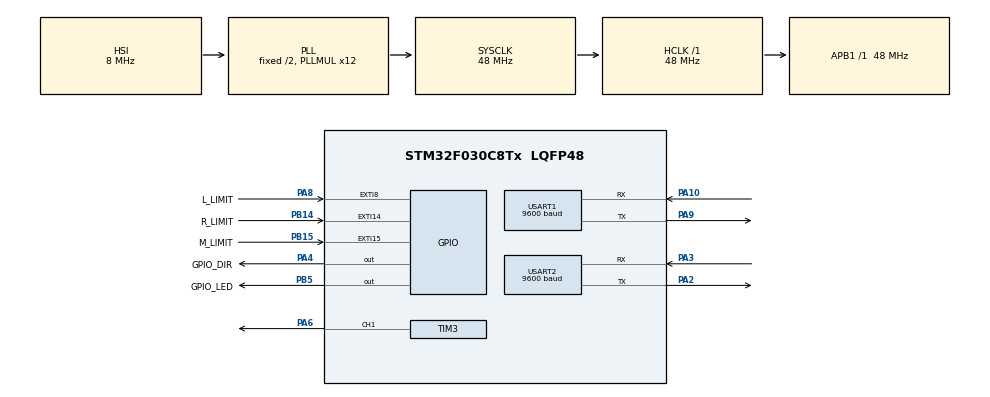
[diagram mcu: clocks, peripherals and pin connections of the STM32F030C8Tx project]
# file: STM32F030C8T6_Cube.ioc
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Dma.Request0=USART2_RX
Dma.Request1=USART2_TX
Dma.Request2=USART1_RX
Dma.Request3=USART1_TX
Dma.USART1_RX.2.Direction=DMA_PERIPH_TO_MEMORY
Dma.USART1_RX.2.Instance=DMA1_Channel3
Dma.USART1_RX.2.MemDataAlignment=DMA_MDATAALIGN_BYTE
Dma.USART1_RX.2.MemInc=DMA_MINC_ENABLE
Dma.USART1_RX.2.Mode=DMA_NORMAL
Dma.USART1_RX.2.PeriphDataAlignment=DMA_PDATAALIGN_BYTE
Dma.USART1_RX.2.PeriphInc=DMA_PINC_DISABLE
Dma.USART1_RX.2.Priority=DMA_PRIORITY_LOW
Dma.USART1_TX.3.Direction=DMA_MEMORY_TO_PERIPH
Dma.USART1_TX.3.Instance=DMA1_Channel2
Dma.USART1_TX.3.MemDataAlignment=DMA_MDATAALIGN_BYTE
Dma.USART1_TX.3.MemInc=DMA_MINC_ENABLE
Dma.USART1_TX.3.Mode=DMA_NORMAL
Dma.USART1_TX.3.PeriphDataAlignment=DMA_PDATAALIGN_BYTE
Dma.USART1_TX.3.PeriphInc=DMA_PINC_DISABLE
Dma.USART1_TX.3.Priority=DMA_PRIORITY_LOW
Dma.USART2_RX.0.Direction=DMA_PERIPH_TO_MEMORY
Dma.USART2_RX.0.Instance=DMA1_Channel5
Dma.USART2_RX.0.MemDataAlignment=DMA_MDATAALIGN_BYTE
Dma.USART2_RX.0.MemInc=DMA_MINC_ENABLE
Dma.USART2_RX.0.Mode=DMA_NORMAL
Dma.USART2_RX.0.PeriphDataAlignment=DMA_PDATAALIGN_BYTE
Dma.USART2_RX.0.PeriphInc=DMA_PINC_DISABLE
Dma.USART2_RX.0.Priority=DMA_PRIORITY_LOW
Dma.USART2_TX.1.Direction=DMA_MEMORY_TO_PERIPH
Dma.USART2_TX.1.Instance=DMA1_Channel4
Dma.USART2_TX.1.MemDataAlignment=DMA_MDATAALIGN_BYTE
Dma.USART2_TX.1.MemInc=DMA_MINC_ENABLE
Dma.USART2_TX.1.Mode=DMA_NORMAL
Dma.USART2_TX.1.PeriphDataAlignment=DMA_PDATAALIGN_BYTE
Dma.USART2_TX.1.PeriphInc=DMA_PINC_DISABLE
Dma.USART2_TX.1.Priority=DMA_PRIORITY_LOW
Mcu.Family=STM32F0
Mcu.Name=STM32F030C8Tx
Mcu.Package=LQFP48
NVIC.DMA1_Channel2_3_IRQn=true\:0\:0\:false\:false\:true
NVIC.DMA1_Channel4_5_IRQn=true\:0\:0\:false\:false\:true
NVIC.EXTI4_15_IRQn=true\:1\:0\:true\:false\:true
NVIC.TIM3_IRQn=true\:0\:0\:false\:false\:true
NVIC.USART1_IRQn=true\:0\:0\:false\:false\:true
PA10.Mode=Asynchronous
PA10.Signal=USART1_RX
PA2.Mode=Asynchronous
PA2.Signal=USART2_TX
PA3.Mode=Asynchronous
PA3.Signal=USART2_RX
PA4.GPIO_Label=GPIO_DIR
PA4.GPIO_ModeDefaultOutputPP=GPIO_MODE_OUTPUT_PP
PA4.Signal=GPIO_Output
PA6.Signal=S_TIM3_CH1
PA8.GPIO_Label=L_LIMIT
PA8.GPIO_ModeDefaultEXTI=GPIO_MODE_IT_FALLING
PA8.Signal=GPXTI8
PA9.Mode=Asynchronous
PA9.Signal=USART1_TX
PB14.GPIO_Label=R_LIMIT
PB14.GPIO_ModeDefaultEXTI=GPIO_MODE_IT_FALLING
PB14.Signal=GPXTI14
PB15.GPIO_Label=M_LIMIT
PB15.GPIO_ModeDefaultEXTI=GPIO_MODE_IT_FALLING
PB15.Signal=GPXTI15
PB5.GPIO_Label=GPIO_LED
PB5.Signal=GPIO_Output
PF0-OSC_IN.Mode=HSE-External-Oscillator
PF0-OSC_IN.Signal=RCC_OSC_IN
PF1-OSC_OUT.Mode=HSE-External-Oscillator
PF1-OSC_OUT.Signal=RCC_OSC_OUT
ProjectManager.HeapSize=0x800
ProjectManager.StackSize=0x400
ProjectManager.TargetToolchain=MDK-ARM V5
RCC.AHBFreq_Value=48000000
RCC.APB1Freq_Value=48000000
RCC.APB1TimFreq_Value=48000000
RCC.HCLKFreq_Value=48000000
RCC.PLLMUL=RCC_PLL_MUL12
RCC.SYSCLKFreq_VALUE=48000000
RCC.SYSCLKSource=RCC_SYSCLKSOURCE_PLLCLK
SH.S_TIM3_CH1.0=TIM3_CH1,PWM Generation1 CH1
TIM3.ClockDivision=TIM_CLOCKDIVISION_DIV1
TIM3.Period=0
TIM3.Prescaler=48
TIM3.Pulse-PWM\ Generation1\ CH1=0
TIM3.TIM_MasterOutputTrigger=TIM_TRGO_OC1
USART1.BaudRate=9600
USART2.BaudRate=9600
board=STM32F030C8T6_Cube

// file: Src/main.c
/**
  ******************************************************************************
  * File Name          : main.c
  * Description        : Main program body
  ******************************************************************************
  *
  * COPYRIGHT(c) 2017 STMicroelectronics
  *
  * Redistribution and use in source and binary forms, with or without modification,
  * are permitted provided that the following conditions are met:
  *   1. Redistributions of source code must retain the above copyright notice,
  *      this list of conditions and the following disclaimer.
  *   2. Redistributions in binary form must reproduce the above copyright notice,
  *      this list of conditions and the following disclaimer in the documentation
  *      and/or other materials provided with the distribution.
  *   3. Neither the name of STMicroelectronics nor the names of its contributors
  *      may be used to endorse or promote products derived from this software
  *      without specific prior written permission.
  *
  * THIS SOFTWARE IS PROVIDED BY THE COPYRIGHT HOLDERS AND CONTRIBUTORS "AS IS"
  * AND ANY EXPRESS OR IMPLIED WARRANTIES, INCLUDING, BUT NOT LIMITED TO, THE
  * IMPLIED WARRANTIES OF MERCHANTABILITY AND FITNESS FOR A PARTICULAR PURPOSE ARE
  * DISCLAIMED. IN NO EVENT SHALL THE COPYRIGHT HOLDER OR CONTRIBUTORS BE LIABLE
  * FOR ANY DIRECT, INDIRECT, INCIDENTAL, SPECIAL, EXEMPLARY, OR CONSEQUENTIAL
  * DAMAGES (INCLUDING, BUT NOT LIMITED TO, PROCUREMENT OF SUBSTITUTE GOODS OR
  * SERVICES; LOSS OF USE, DATA, OR PROFITS; OR BUSINESS INTERRUPTION) HOWEVER
  * CAUSED AND ON ANY THEORY OF LIABILITY, WHETHER IN CONTRACT, STRICT LIABILITY,
  * OR TORT (INCLUDING NEGLIGENCE OR OTHERWISE) ARISING IN ANY WAY OUT OF THE USE
  * OF THIS SOFTWARE, EVEN IF ADVISED OF THE POSSIBILITY OF SUCH DAMAGE.
  *
  ******************************************************************************
  */
#include "main.h"
#include "stm32f0xx_hal.h"
#include "dma.h"
#include "tim.h"
#include "usart.h"
#include "gpio.h"

/* USER CODE BEGIN Includes */
#include "TaskTimeManager.h"
#include "ComBuff.h"
#include "ProtocolFrame.h"
#include "ProtocolHandle.h"
#include "StepMotor.h"
/* USER CODE END Includes */

/* USER CODE BEGIN PV */
/* Private variables ---------------------------------------------------------*/

/* USER CODE END PV */

void SystemClock_Config(void);
void Error_Handler(void);

/* USER CODE BEGIN PFP */
/* Private function prototypes -----------------------------------------------*/

/* USER CODE END PFP */

/* USER CODE BEGIN 0 */
uint8_t a=0, b=0, c=0, d=0;
uint16_t flag = 3200*2;
void LED_TEST(void){
  static uint8_t seq = 0;
//  uint8_t data[100] = "123456\r\n";
//  Uart1_DMA_Sender.Write(&Uart1_DMA_Sender, data, 8);
//  memset(data, 0, 8);
  //PRINT_HEAP();
	HAL_GPIO_WritePin(GPIO_LED_GPIO_Port, GPIO_LED_Pin,(GPIO_PinState)(seq++%2));
  //printf("LED_TEST:%d,%d\r\n", seq++,stepMotor.Location_Cur_Step);
}

int8_t tmpID = 0;
void Center_Run(void){
	if(stepMotor.Motor_State == FINISH_M){
		stepMotor.Run_Offset(DIR_RIGHT, MAX_SIZE/2,100);
		TaskTime_Remove(tmpID);
	}
}
//void step_next(void){
//	if(flag > 0)
//		flag--;
//	HAL_GPIO_WritePin(GPIOA, GPIO_PIN_6, (GPIO_PinState)flag%2);
//
//}
//void HAL_TIM_PeriodElapsedCallback(TIM_HandleTypeDef *htim){
//	a++;
//}

//void HAL_TIM_OC_DelayElapsedCallback(TIM_HandleTypeDef *htim){
//	b++;
//}

//void HAL_TIM_TriggerCallback(TIM_HandleTypeDef *htim){
//	d++;
//}
/* USER CODE END 0 */

int main(void)
{

  /* MCU Configuration----------------------------------------------------------*/

  /* Reset of all peripherals, Initializes the Flash interface and the Systick. */
  HAL_Init();

  /* Configure the system clock */
  SystemClock_Config();

  /* Initialize all configured peripherals */
  MX_GPIO_Init();
  MX_DMA_Init();
  MX_USART1_UART_Init();
  MX_TIM3_Init();
  MX_USART2_UART_Init();

  /* USER CODE BEGIN 2 */
  TaskTime_Init();
  ProtocolFrame_Init();
  Log_Init();
  ComBuff_Init();

	StepMotor_Init();
//	printf("OK\r\n");
//	while(1);
  //HAL_GPIO_WritePin(GPIOA, GPIO_PIN_4, GPIO_PIN_SET);

	/*-----------���Ե�������-----------------*/
  TaskTime_Add(TaskID++, TimeCycle(1,0), LED_TEST, Real_Mode);
	/*-----------������������-----------------*/
  TaskTime_Add(TaskID++, TimeCycle(0,30), SenderKeepTransmit, Count_Mode);
	/*-----------Э���������-----------------*/
  TaskTime_Add(TaskID++, TimeCycle(0,30), PaddingProtocol, Real_Mode);
	/*-----------Э��ִ������-----------------*/
	TaskTime_Add(TaskID++, TimeCycle(0,30), FetchProtocols, Real_Mode);
	/*-----------ɨ����λ����-----------------*/
	TaskTime_Add(TaskID++, TimeCycle(0,30), Scan_Limit, Real_Mode);
	/*-----------��ʼ�������˶�*/
	tmpID = TaskTime_Add(TaskID++, TimeCycle(1,0), Center_Run, Real_Mode);
	//TaskTime_Add(TaskID++, TimeCycle(0,1), step_next, Real_Mode);

	//HAL_TIM_PWM_Start_IT(&htim3, TIM_CHANNEL_1);

  /* USER CODE END 2 */

  /* Infinite loop */
  while (1)
  {

  /* USER CODE BEGIN 3 */
    TaskTime_Run();

  }
  /* USER CODE END 3 */

}

/** System Clock Configuration
*/
void SystemClock_Config(void)
{

  RCC_OscInitTypeDef RCC_OscInitStruct;
  RCC_ClkInitTypeDef RCC_ClkInitStruct;
  RCC_PeriphCLKInitTypeDef PeriphClkInit;

    /**Initializes the CPU, AHB and APB busses clocks
    */
  RCC_OscInitStruct.OscillatorType = RCC_OSCILLATORTYPE_HSI;
  RCC_OscInitStruct.HSIState = RCC_HSI_ON;
  RCC_OscInitStruct.HSICalibrationValue = 16;
  RCC_OscInitStruct.PLL.PLLState = RCC_PLL_ON;
  RCC_OscInitStruct.PLL.PLLSource = RCC_PLLSOURCE_HSI;
  RCC_OscInitStruct.PLL.PLLMUL = RCC_PLL_MUL12;
  RCC_OscInitStruct.PLL.PREDIV = RCC_PREDIV_DIV1;
  if (HAL_RCC_OscConfig(&RCC_OscInitStruct) != HAL_OK)
  {
    Error_Handler();
  }

    /**Initializes the CPU, AHB and APB busses clocks
    */
  RCC_ClkInitStruct.ClockType = RCC_CLOCKTYPE_HCLK|RCC_CLOCKTYPE_SYSCLK
                              |RCC_CLOCKTYPE_PCLK1;
  RCC_ClkInitStruct.SYSCLKSource = RCC_SYSCLKSOURCE_PLLCLK;
  RCC_ClkInitStruct.AHBCLKDivider = RCC_SYSCLK_DIV1;
  RCC_ClkInitStruct.APB1CLKDivider = RCC_HCLK_DIV1;

  if (HAL_RCC_ClockConfig(&RCC_ClkInitStruct, FLASH_LATENCY_1) != HAL_OK)
  {
    Error_Handler();
  }

  PeriphClkInit.PeriphClockSelection = RCC_PERIPHCLK_USART1;
  PeriphClkInit.Usart1ClockSelection = RCC_USART1CLKSOURCE_PCLK1;
  if (HAL_RCCEx_PeriphCLKConfig(&PeriphClkInit) != HAL_OK)
  {
    Error_Handler();
  }

    /**Configure the Systick interrupt time
    */
  HAL_SYSTICK_Config(HAL_RCC_GetHCLKFreq()/1000);

    /**Configure the Systick
    */
  HAL_SYSTICK_CLKSourceConfig(SYSTICK_CLKSOURCE_HCLK);

  /* SysTick_IRQn interrupt configuration */
  HAL_NVIC_SetPriority(SysTick_IRQn, 0, 0);
}

void Error_Handler(void)
{
  while(1)
  {
  }
}

/************************ (C) COPYRIGHT STMicroelectronics *****END OF FILE****/
